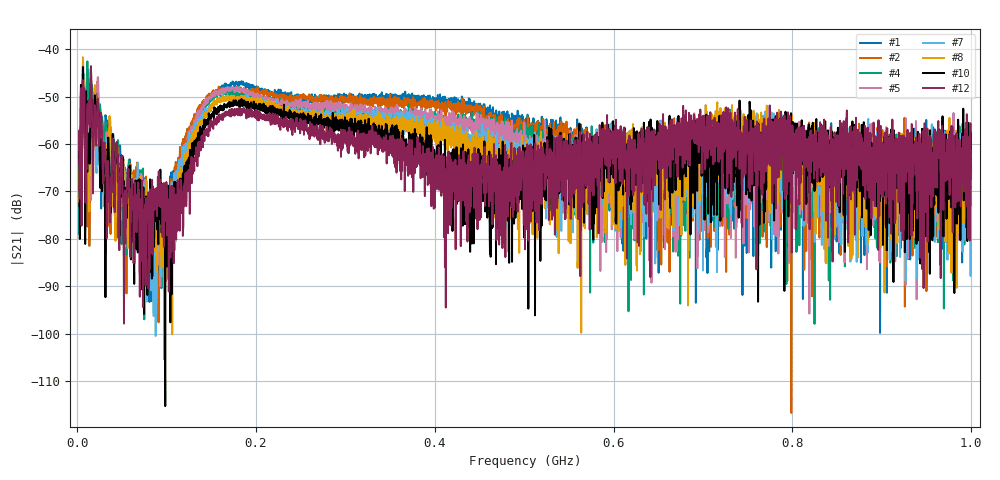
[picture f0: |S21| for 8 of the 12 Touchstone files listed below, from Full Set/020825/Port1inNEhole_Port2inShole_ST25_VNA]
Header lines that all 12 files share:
!Keysight Technologies N9923A: A.12.45
!Timezone: (UTC+08:00) Kuala Lumpur, Singapore
!Model: N9923A
!Serial: MY61181427
!GPS Latitude:
!GPS Longitude:
!GPS TimeStamp: 0001-01-01 00:00:00Z
!GPS Seconds Since Last Read: 0
!Correction: S11(ON U)S21(ON U)S12(ON U)S22(ON U)
!S2P File: Measurements:S11,S21,S12,S22:
# Hz S DB R 50
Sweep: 2 MHz to 1 GHz
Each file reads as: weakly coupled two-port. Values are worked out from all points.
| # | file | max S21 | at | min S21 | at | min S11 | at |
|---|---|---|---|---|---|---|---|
| 1 | aug2_42m.s2p | -45.23 dB | 7.739 MHz | -99.9 dB | 898.2 MHz | -32.7 dB | 181.1 MHz |
| 2 | aug2_43m.s2p | -46.55 dB | 7.489 MHz | -116.7 dB | 798.9 MHz | -32.5 dB | 181.1 MHz |
| 3 | aug2_44m.s2p | -45.49 dB | 19.96 MHz | -109.0 dB | 95.56 MHz | -32.5 dB | 181.1 MHz |
| 4 | aug2_45m.s2p | -42.57 dB | 11.48 MHz | -97.9 dB | 824.9 MHz | -32.4 dB | 181.1 MHz |
| 5 | aug2_46m.s2p | -44.48 dB | 6.491 MHz | -105.4 dB | 97.31 MHz | -32.4 dB | 181.1 MHz |
| 6 | aug2_47m.s2p | -44.31 dB | 6.491 MHz | -107.0 dB | 103.8 MHz | -32.4 dB | 181.1 MHz |
| 7 | aug2_48m.s2p | -43.05 dB | 6.491 MHz | -100.5 dB | 87.83 MHz | -32.4 dB | 181.1 MHz |
| 8 | aug2_49m.s2p | -41.69 dB | 6.491 MHz | -100.2 dB | 106.3 MHz | -32.5 dB | 181.1 MHz |
| 9 | aug2_50m.s2p | -46.07 dB | 22.96 MHz | -98.4 dB | 75.6 MHz | -32.5 dB | 181.1 MHz |
| 10 | aug2_51m.s2p | -43.72 dB | 15.47 MHz | -115.3 dB | 98.56 MHz | -32.6 dB | 181.1 MHz |
| 11 | aug2_52m.s2p | -43.20 dB | 15.47 MHz | -99.6 dB | 79.59 MHz | -32.5 dB | 181.1 MHz |
| 12 | aug2_53m.s2p | -43.56 dB | 15.47 MHz | -97.9 dB | 52.4 MHz | -32.8 dB | 181.1 MHz |
